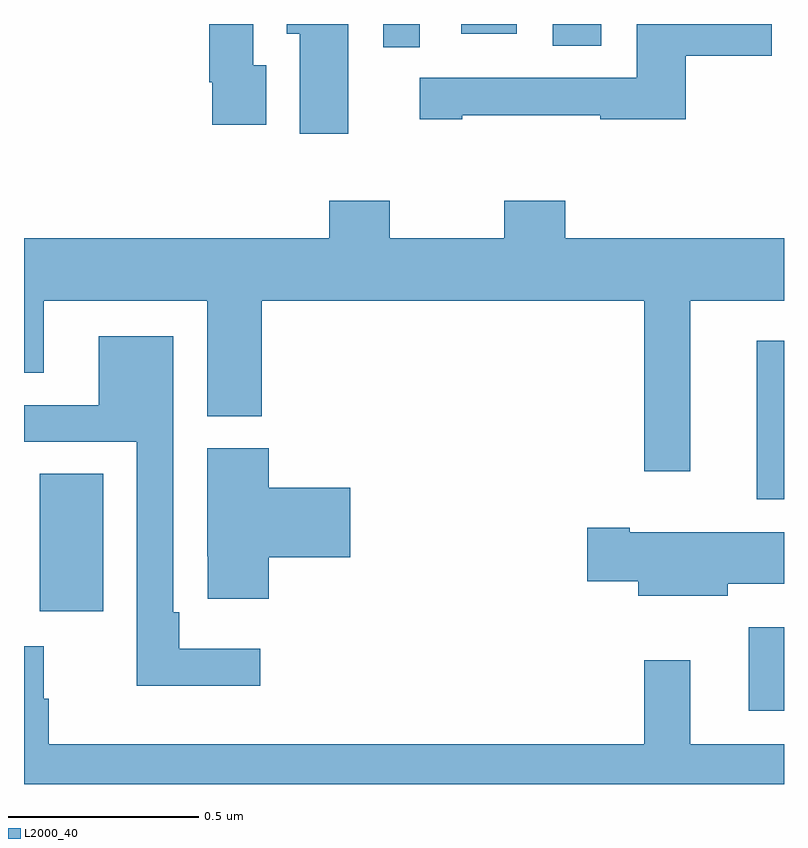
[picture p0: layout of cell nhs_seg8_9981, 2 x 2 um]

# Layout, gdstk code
import gdstk
lib = gdstk.Library(unit=1e-6, precision=1e-09)
def R(c, l, rs):  # rectangles x0, y0, x1, y1
    for r in rs: c.add(gdstk.rectangle(r[:2], r[2:], *l))
def P(c, l, *ps):  # polygons
    for p in ps: c.add(gdstk.Polygon(p, *l))
L2000_40 = (2000, 40)

nhs_seg8_9981 = lib.new_cell('nhs_seg8_9981')
R(nhs_seg8_9981, L2000_40, [(244.907,1110.093,245,1110.313), (243.041,1110.354,243.208,1110.716), (244.928,1110.65,245,1111.066), (243.945,1111.839,244.041,1111.9), (244.391,1111.843,244.519,1111.9), (244.151,1111.875,244.297,1111.9)])
P(nhs_seg8_9981, L2000_40, [(243.637,1111.791),(243.603,1111.791),(243.603,1111.9),(243.487,1111.9),(243.487,1111.747),(243.495,1111.747),(243.495,1111.635),(243.637,1111.635)],
  [(243.853,1111.9),(243.692,1111.9),(243.692,1111.874),(243.725,1111.874),(243.725,1111.611),(243.853,1111.611)],
  [(244.153,1111.66),(244.517,1111.66),(244.517,1111.65),(244.741,1111.65),(244.741,1111.816),(244.968,1111.816),(244.968,1111.9),(244.613,1111.9),(244.613,1111.758),(244.041,1111.758),(244.041,1111.65),(244.153,1111.65)],
  [(244.753,1111.172),(245,1111.172),(245,1111.336),(244.424,1111.336),(244.424,1111.435),(244.264,1111.435),(244.264,1111.336),(243.963,1111.336),(243.963,1111.435),(243.803,1111.435),(243.803,1111.336),(243,1111.336),(243,1110.982),(243.052,1110.982),(243.052,1111.172),(243.482,1111.172),(243.482,1110.868),(243.626,1110.868),(243.626,1111.172),(244.632,1111.172),(244.632,1110.723),(244.753,1110.723)],
  [(243.622,1110.256),(243.409,1110.256),(243.409,1110.352),(243.393,1110.352),(243.393,1111.078),(243.197,1111.078),(243.197,1110.897),(243,1110.897),(243,1110.801),(243.297,1110.801),(243.297,1110.158),(243.622,1110.158)],
  [(243.644,1110.497),(243.859,1110.497),(243.859,1110.68),(243.644,1110.68),(243.644,1110.783),(243.482,1110.783),(243.482,1110.499),(243.483,1110.499),(243.483,1110.387),(243.644,1110.387)],
  [(244.852,1110.427),(245,1110.427),(245,1110.562),(244.594,1110.562),(244.594,1110.575),(244.482,1110.575),(244.482,1110.433),(244.616,1110.433),(244.616,1110.395),(244.852,1110.395)],
  [(245,1110.004),(244.753,1110.004),(244.753,1110.226),(244.632,1110.226),(244.632,1110.004),(243.065,1110.004),(243.065,1110.125),(243.052,1110.125),(243.052,1110.262),(243,1110.262),(243,1109.9),(245,1109.9)])

lib.write_gds('nhs_seg8_9981.gds')
